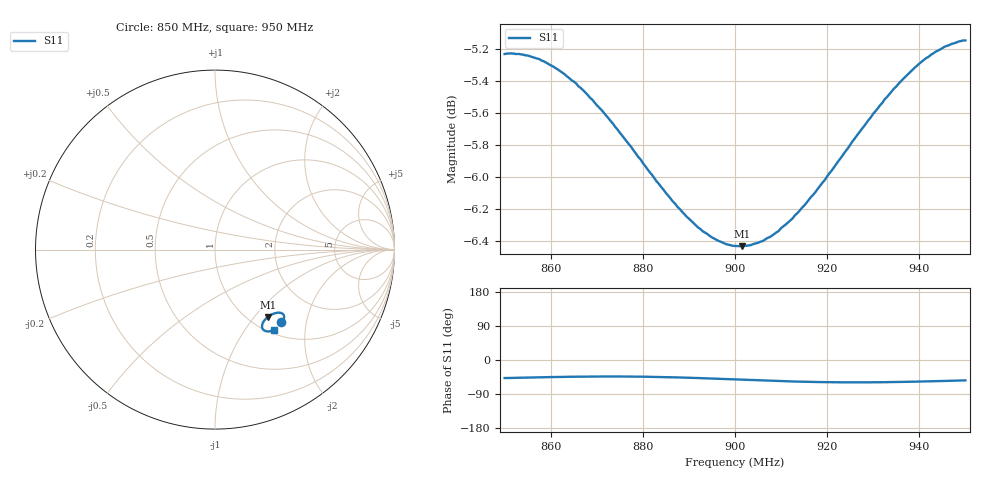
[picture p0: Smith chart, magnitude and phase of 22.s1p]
!CEYEAR,3656B,QZNG000070,1.3.8
!Calibration ON (Full Solt 2-Port(Omit Isolation))
!Measurements:S11
!2025-12-13 10:58
# Hz  S  dB  R 50.000
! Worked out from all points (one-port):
!   201 points, 850 MHz to 950 MHz, reference 50 ohm
!   lowest |S11| = -6.4 dB at 901.5 MHz (marker M1), VSWR 2.82, Z = 60.3 - j58.7 ohm
!   |S11| at or under -10 dB: nowhere
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8.5e8  -5.23 -47.7
8.53e8  -5.23 -46.8
8.565e8  -5.25 -45.9
8.605e8  -5.31 -45.0
8.625e8  -5.34 -44.6
8.655e8  -5.41 -44.1
8.69e8  -5.51 -43.7
8.725e8  -5.63 -43.5
8.75e8  -5.72 -43.5
8.785e8  -5.85 -43.8
8.815e8  -5.97 -44.3
8.875e8  -6.19 -46.0
8.93e8  -6.34 -48.1
8.965e8  -6.40 -49.7
9e8  -6.43 -51.3
9.015e8  -6.43 -52.0
9.075e8  -6.38 -54.8
9.125e8  -6.26 -56.7
9.16e8  -6.14 -57.7
9.195e8  -6.02 -58.4
9.25e8  -5.80 -59.0
9.29e8  -5.64 -58.9
9.325e8  -5.51 -58.5
9.375e8  -5.36 -57.6
9.41e8  -5.26 -56.7
9.435e8  -5.22 -55.9
9.47e8  -5.17 -54.8
9.5e8  -5.14 -53.8
